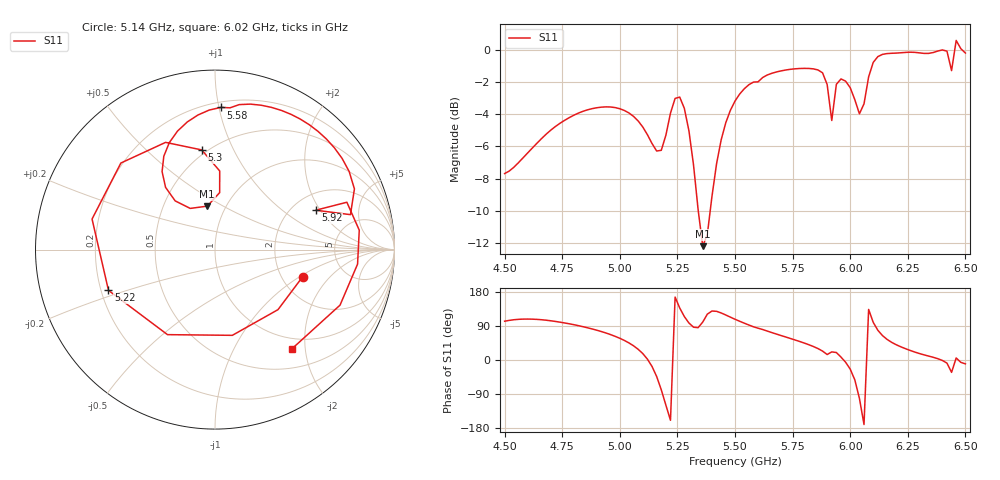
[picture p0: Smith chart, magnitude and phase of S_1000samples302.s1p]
! TOUCHSTONE file generated by CST MICROWAVE STUDIO
! Date and time: Thu Oct 27 17:02:29 2022
! Project name: L.cst
! Parameters = {Di=1.27; Epsilon_r=1.56; InnerDiameter=1.27; Length=2; Lf=10; Lg=60; OuterConductorThickness=0.2921; OuterDiameter=3.6; Wf=3; Wp=41.2; de=1.5; df=6.8; g=0.8; gx=0.531899; gy=4.05488; h=2.34; hf=1.524; px=13.694; py=8.09081; w=9.7; wx=13.1621; wy=4.03593}
! Header version: 2018
! Port assignment regex: !\s*Touchstone port\s*([0-9]+)\s*=\s*(CST MWS port|CST DS port)\s*([0-9]+|Zmin|Zmax)\s*\(\"(.*)\"\)(\s*mode\s*([0-9]+))?.*
! Touchstone port assignment:
! Touchstone port 1 = CST MWS port 1 ("")
# GHz S DB R 50
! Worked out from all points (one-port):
!   101 points, 4.5 GHz to 6.5 GHz, reference 50 ohm
!   lowest |S11| = -12.2 dB at 5.36 GHz (marker M1), VSWR 1.65, Z = 41 + j21.1 ohm
!   |S11| at or under -10 dB: 5.341 GHz to 5.392 GHz (51.73 MHz wide, 0.964 % of centre)
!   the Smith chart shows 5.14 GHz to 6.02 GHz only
!   S11 on the Smith chart (normalised r, x): 5.14 GHz: 2.59, -1.06; 5.22 GHz: 0.23, -0.18; 5.3 GHz: 0.47, +0.76; 5.58 GHz: 0.24, +1.01; 5.92 GHz: 2.65, +1.83; 6.02 GHz: 0.80, -1.75
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4.5  -7.69 102.4
4.76  -4.39 97.8
5  -3.67 57.3
5.14  -5.83 -17.2
5.18  -6.24 -78.6
5.22  -3.94 -159.0
5.26  -2.94 137.4
5.3  -5.03 97.6
5.36  -12.19 100.1
5.42  -7.07 128.5
5.5  -3.19 107.6
5.58  -2.01 87.6
5.76  -1.19 53.0
5.88  -1.44 23.5
5.92  -4.40 21.3
5.94  -2.15 19.8
6  -2.36 -23.9
6.02  -3.10 -52.3
6.04  -3.98 -101.2
6.06  -3.36 -170.2
6.08  -1.69 133.5
6.1  -0.79 99.3
6.16  -0.25 54.4
6.26  -0.16 25.3
6.4  -0.02 -1.2
6.44  -1.30 -32.7
6.46  0.57 5.4
6.5  -0.21 -10.2
